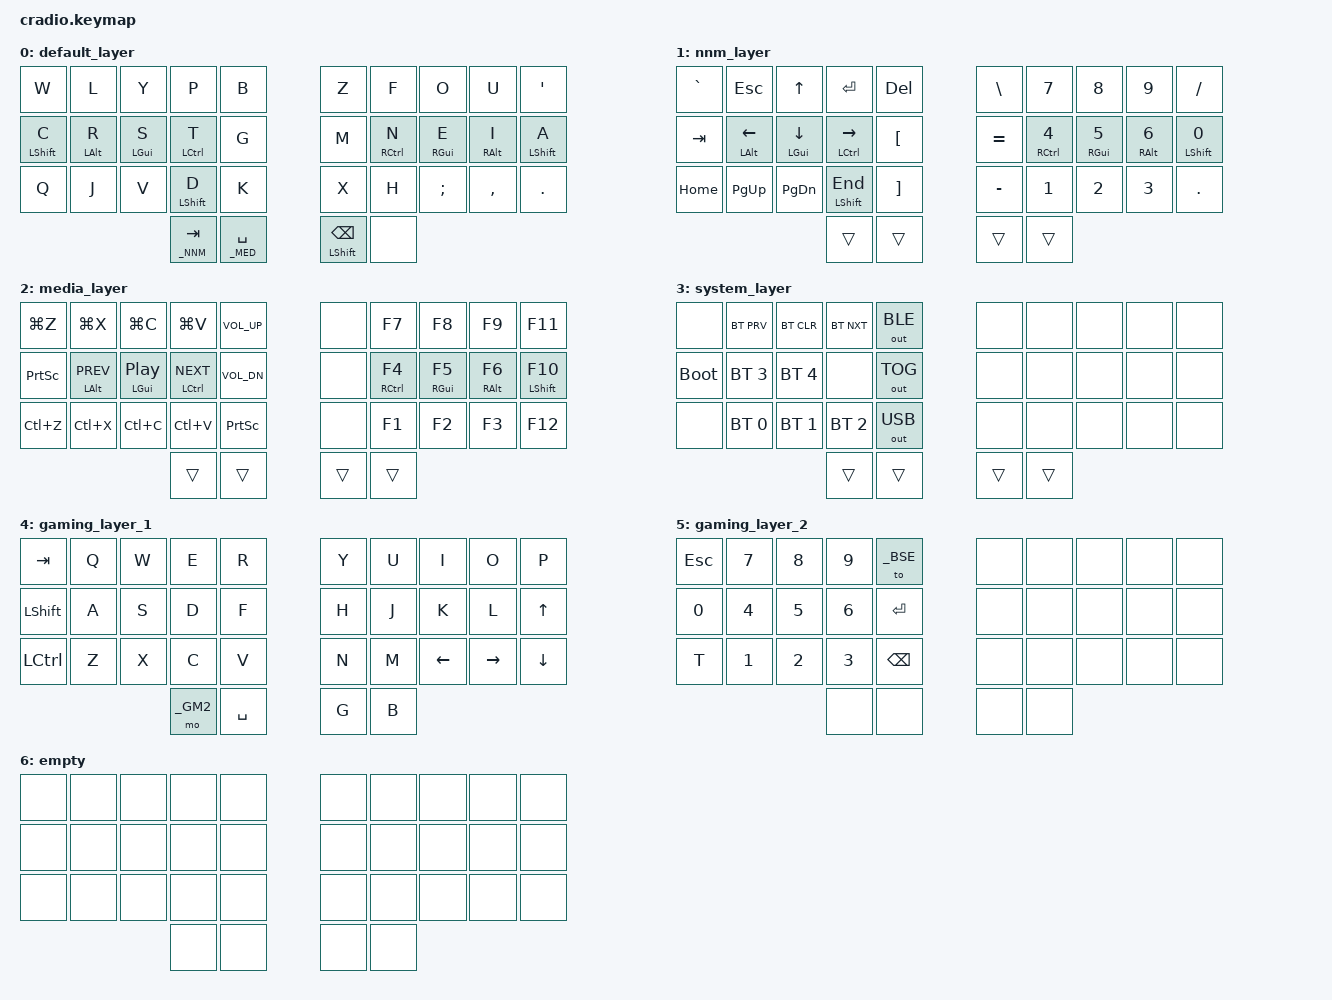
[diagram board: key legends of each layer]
/*
 * Copyright (c) 2020 The ZMK Contributors
 *
 * SPDX-License-Identifier: MIT
 */

#include <behaviors.dtsi>
#include <dt-bindings/zmk/bt.h>
#include <dt-bindings/zmk/keys.h>
#include <dt-bindings/zmk/outputs.h>

// LAYERS
#define _BSE 0
#define _NNM 1
#define _MED 2
#define _SYS 3
#define _GM1 4
#define _GM2 5

&mt {
  flavor = "tap-preferred";
  tapping-term-ms = <200>;
  quick-tap-ms = <200>;
};

&lt {
  flavor = "tap-preferred";
  tapping-term-ms = <200>;
  quick-tap-ms = <200>;
};

&sl {
    release-after-ms = <1000>;
};

&sk {
    release-after-ms = <500>;
    quick-release;
};

/ {
  behaviors {
    hmt: hold_preferred_mod_tap {
      compatible = "zmk,behavior-hold-tap";
      #binding-cells = <2>;
      tapping-term-ms = <200>;
      quick-tap-ms = <0>;
      flavor = "hold-preferred";
      bindings = <&kp>, <&kp>;
    };
    hlt: hold_preferred_layer_tap {
      compatible = "zmk,behavior-hold-tap";
      #binding-cells = <2>;
      tapping-term-ms = <200>;
      quick-tap-ms = <0>;
      flavor = "hold-preferred";
      bindings = <&mo>, <&kp>;
    };
  };
  macros {
    #include "macros.dtsi"
  };

  combos {
    compatible = "zmk,combos";
    combo_system {
      timeout-ms = <100>;
      key-positions = <0 20>;
      bindings = <&tog _SYS>;
      layers = <0 _SYS>;
    };
    combo_boot {
      timeout-ms = <100>;
      key-positions = <0 4>;
      bindings = <&bootloader>;
      layers = <0>;
    };
    #include "combos.dtsi"
  };

  keymap {
    compatible = "zmk,keymap";

    default_layer {
      bindings = <
        &kp W            &kp L            &kp Y            &kp P            &kp B                 &kp Z            &kp F            &kp O            &kp U            &kp SQT
        &mt LSHIFT C     &mt LALT R       &mt LGUI S       &mt LCTRL T      &kp G                 &kp M            &mt RCTRL N      &mt RGUI E       &mt RALT I       &mt LSHIFT A
        &kp Q            &kp J            &kp V            &mt LSHIFT D     &kp K                 &kp X            &kp H            &kp SEMI         &kp COMMA        &kp DOT
                                                           &hlt _NNM TAB    &lt _MED SPC          &hmt LSHIFT BSPC &none
      >;
    };

    nnm_layer {
      bindings = <
        &kp GRAVE        &kp ESC          &kp UP           &kp ENTER        &kp DEL               &kp BSLH         &kp N7           &kp N8           &kp N9           &kp FSLH 
        &kp TAB          &mt LALT LEFT    &mt LGUI DOWN    &mt LCTRL RIGHT  &kp LBKT              &kp EQUAL        &mt RCTRL N4     &mt RGUI N5      &mt RALT N6      &mt LSHIFT N0
        &kp HOME         &kp PG_UP        &kp PG_DN        &mt LSHIFT END   &kp RBKT              &kp MINUS        &kp N1           &kp N2           &kp N3           &kp DOT 
                                                           &trans           &trans                &trans           &trans
      >;
    };

    media_layer {
      bindings = <
        &kp LG(Z)        &kp LG(X)        &kp LG(C)        &kp LG(V)        &kp C_VOL_UP          &none            &kp F7           &kp F8           &kp F9           &kp F11
        &kp PSCRN        &mt LALT C_PREV  &mt LGUI C_PP    &mt LCTRL C_NEXT &kp C_VOL_DN          &none            &mt RCTRL F4     &mt RGUI F5      &mt RALT F6      &mt LSHIFT F10
        &kp LC(Z)        &kp LC(X)        &kp LC(C)        &kp LC(V)        &kp PSCRN             &none            &kp F1           &kp F2           &kp F3           &kp F12
                                                           &trans           &trans                &trans           &trans
      >;
    };

    system_layer {
      bindings = <
        &none            &bt BT_PRV       &bt BT_CLR       &bt BT_NXT       &out OUT_BLE          &none            &none            &none            &none            &none
        &bootloader      &bt BT_SEL 3     &bt BT_SEL 4     &none            &out OUT_TOG          &none            &none            &none            &none            &none
        &none            &bt BT_SEL 0     &bt BT_SEL 1     &bt BT_SEL 2     &out OUT_USB          &none            &none            &none            &none            &none
                                                           &trans           &trans                &trans           &trans
      >;
    };

    gaming_layer_1 {
      bindings = <
        &kp TAB         &kp Q            &kp W             &kp E            &kp R                 &kp Y            &kp U            &kp I            &kp O            &kp P
        &kp LSHIFT      &kp A            &kp S             &kp D            &kp F                 &kp H            &kp J            &kp K            &kp L            &kp UP
        &kp LCTRL       &kp Z            &kp X             &kp C            &kp V                 &kp N            &kp M            &kp LEFT         &kp RIGHT        &kp DOWN
                                                           &mo _GM2         &kp SPC               &kp G            &kp B
      >;
    };
    
    gaming_layer_2 {
      bindings = <
        &kp ESC         &kp N7           &kp N8            &kp N9           &to _BSE              &none            &none            &none            &none            &none
        &kp N0          &kp N4           &kp N5            &kp N6           &kp RET               &none            &none            &none            &none            &none
        &kp T           &kp N1           &kp N2            &kp N3           &kp BSPC              &none            &none            &none            &none            &none
                                                           &none            &none                 &none            &none
      >;
    };

    empty {
      bindings = <
        &none           &none            &none             &none            &none                 &none            &none            &none            &none            &none
        &none           &none            &none             &none            &none                 &none            &none            &none            &none            &none
        &none           &none            &none             &none            &none                 &none            &none            &none            &none            &none
                                                           &none            &none                 &none            &none
      >;
    };
  };
};
